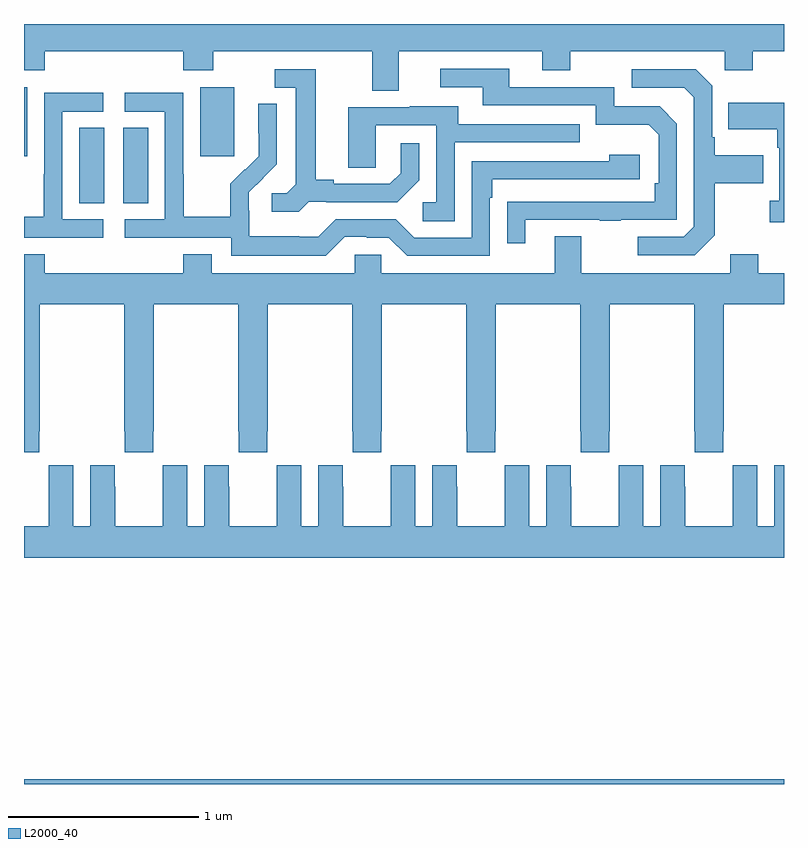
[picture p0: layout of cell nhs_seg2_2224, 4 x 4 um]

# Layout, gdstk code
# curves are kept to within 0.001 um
import gdstk
lib = gdstk.Library(unit=1e-6, precision=1e-09)
def R(c, l, rs):  # rectangles x0, y0, x1, y1
    for r in rs: c.add(gdstk.rectangle(r[:2], r[2:], *l))
def P(c, l, *ps):  # polygons
    for p in ps: c.add(gdstk.Polygon(p, *l))
L2000_40 = (2000, 40)

nhs_seg2_2224 = lib.new_cell('nhs_seg2_2224')
R(nhs_seg2_2224, L2000_40, [(227,623.8,231,623.824), (227.291,626.857,227.422,627.254), (227.522,626.857,227.653,627.254), (227,627.105,227.017,627.466), (227.927,627.105,228.106,627.466)])
P(nhs_seg2_2224, L2000_40, [(228.973,627.656),(229.727,627.656),(229.727,627.557),(229.875,627.557),(229.875,627.656),(230.688,627.656),(230.688,627.557),(230.835,627.557),(230.835,627.656),(231,627.656),(231,627.8),(227,627.8),(227,627.557),(227.108,627.557),(227.108,627.656),(227.837,627.656),(227.837,627.557),(227.997,627.557),(227.997,627.656),(228.833,627.656),(228.833,627.448),(228.973,627.448)],
  [(229.639,626.769),(230.029,626.769),(230.029,626.764),(230.141,626.764),(230.141,626.769),(230.436,626.769),(230.436,627.276),(230.346,627.366),(230.106,627.366),(230.106,627.468),(229.555,627.468),(229.555,627.564),(229.191,627.564),(229.191,627.468),(229.415,627.468),(229.415,627.372),(230.01,627.372),(230.01,627.269),(230.287,627.269),(230.34,627.216),(230.34,626.962),(230.32,626.962),(230.32,626.865),(229.543,626.864),(229.543,626.646),(229.639,626.646)],
  [(230.635,626.689),(230.635,626.962),(230.891,626.962),(230.891,627.109),(230.635,627.109),(230.635,627.205),(230.622,627.205),(230.622,627.474),(230.535,627.561),(230.199,627.561),(230.199,627.465),(230.475,627.465),(230.526,627.414),(230.526,626.733),(230.472,626.679),(230.229,626.679),(230.229,626.583),(230.529,626.583)],
  [(228.498,626.865),(228.592,626.865),(228.592,626.862),(228.964,626.862),(229.08,626.978),(229.08,627.172),(228.983,627.172),(228.983,627.015),(228.926,626.958),(228.631,626.958),(228.631,626.981),(228.535,626.981),(228.535,627.561),(228.321,627.561),(228.321,627.465),(228.431,627.465),(228.431,626.957),(228.384,626.91),(228.303,626.91),(228.303,626.813),(228.446,626.813)],
  [(228.687,626.679),(228.803,626.679),(228.803,626.676),(228.921,626.676),(229.017,626.58),(229.452,626.58),(229.452,626.885),(229.465,626.885),(229.465,626.982),(230.242,626.982),(230.242,627.112),(230.081,627.112),(230.081,627.078),(229.356,627.078),(229.356,626.676),(229.053,626.676),(228.957,626.772),(228.642,626.772),(228.549,626.679),(228.449,626.679),(228.449,626.683),(228.186,626.683),(228.186,626.817),(228.184,626.817),(228.184,626.914),(228.33,627.062),(228.33,627.38),(228.234,627.38),(228.234,627.226),(228.236,627.226),(228.236,627.104),(228.165,627.033),(228.162,627.036),(228.085,626.959),(228.085,626.785),(227.841,626.785),(227.841,627.008),(227.838,627.008),(227.838,627.438),(227.529,627.438),(227.529,627.339),(227.742,627.339),(227.742,626.772),(227.529,626.772),(227.529,626.676),(228.09,626.676),(228.09,626.579),(228.587,626.579)],
  [(227.416,626.772),(227.202,626.772),(227.202,627.339),(227.416,627.339),(227.416,627.438),(227.106,627.438),(227.106,627.008),(227.104,627.008),(227.104,626.785),(227,626.785),(227,626.676),(227.416,626.676)],
  [(231,627.385),(230.707,627.385),(230.707,627.245),(230.964,627.245),(230.964,627.149),(230.976,627.149),(230.976,626.87),(230.925,626.87),(230.925,626.757),(231,626.757)],
  [(229.266,627.177),(229.925,627.177),(229.925,627.273),(229.285,627.273),(229.285,627.367),(229.031,627.367),(229.031,627.363),(228.707,627.363),(228.707,627.043),(228.852,627.043),(228.852,627.267),(229.17,627.267),(229.17,626.862),(229.098,626.862),(229.098,626.761),(229.266,626.761)],
  [(228.741,626.586),(228.741,626.488),(227.989,626.488),(227.989,626.587),(227.837,626.587),(227.837,626.488),(227.108,626.488),(227.108,626.587),(227,626.587),(227,625.545),(227.079,625.545),(227.079,625.657),(227.082,625.657),(227.082,626.324),(227.527,626.324),(227.527,625.657),(227.529,625.657),(227.529,625.545),(227.679,625.545),(227.679,625.657),(227.682,625.657),(227.682,626.324),(228.127,626.324),(228.127,625.657),(228.129,625.657),(228.129,625.545),(228.279,625.545),(228.279,625.657),(228.282,625.657),(228.282,626.324),(228.727,626.324),(228.727,625.657),(228.729,625.657),(228.729,625.545),(228.879,625.545),(228.879,625.657),(228.882,625.657),(228.882,626.324),(229.327,626.324),(229.327,625.657),(229.329,625.657),(229.329,625.545),(229.479,625.545),(229.479,625.657),(229.482,625.657),(229.482,626.324),(229.927,626.324),(229.927,625.657),(229.929,625.657),(229.929,625.545),(230.079,625.545),(230.079,625.657),(230.082,625.657),(230.082,626.324),(230.527,626.324),(230.527,625.657),(230.529,625.657),(230.529,625.545),(230.679,625.545),(230.679,625.657),(230.682,625.657),(230.682,626.324),(231,626.324),(231,626.488),(230.865,626.488),(230.865,626.587),(230.717,626.587),(230.717,626.488),(229.933,626.488),(229.933,626.683),(229.793,626.683),(229.793,626.488),(228.879,626.488),(228.879,626.586)],
  [(231,625.477),(230.948,625.477),(230.948,625.156),(230.86,625.156),(230.86,625.477),(230.73,625.477),(230.73,625.364),(230.729,625.364),(230.729,625.156),(230.479,625.156),(230.479,625.364),(230.478,625.364),(230.478,625.477),(230.348,625.477),(230.348,625.156),(230.26,625.156),(230.26,625.477),(230.13,625.477),(230.13,625.364),(230.129,625.364),(230.129,625.156),(229.879,625.156),(229.879,625.364),(229.878,625.364),(229.878,625.477),(229.748,625.477),(229.748,625.156),(229.66,625.156),(229.66,625.477),(229.53,625.477),(229.53,625.364),(229.529,625.364),(229.529,625.156),(229.279,625.156),(229.279,625.364),(229.278,625.364),(229.278,625.477),(229.148,625.477),(229.148,625.156),(229.06,625.156),(229.06,625.477),(228.93,625.477),(228.93,625.364),(228.929,625.364),(228.929,625.156),(228.679,625.156),(228.679,625.364),(228.678,625.364),(228.678,625.477),(228.548,625.477),(228.548,625.156),(228.46,625.156),(228.46,625.477),(228.33,625.477),(228.33,625.364),(228.329,625.364),(228.329,625.156),(228.079,625.156),(228.079,625.364),(228.078,625.364),(228.078,625.477),(227.948,625.477),(227.948,625.156),(227.86,625.156),(227.86,625.477),(227.73,625.477),(227.73,625.364),(227.729,625.364),(227.729,625.156),(227.479,625.156),(227.479,625.364),(227.478,625.364),(227.478,625.477),(227.348,625.477),(227.348,625.156),(227.26,625.156),(227.26,625.477),(227.13,625.477),(227.13,625.364),(227.129,625.364),(227.129,625.156),(227,625.156),(227,624.992),(231,624.992)])

lib.write_gds('nhs_seg2_2224.gds')
